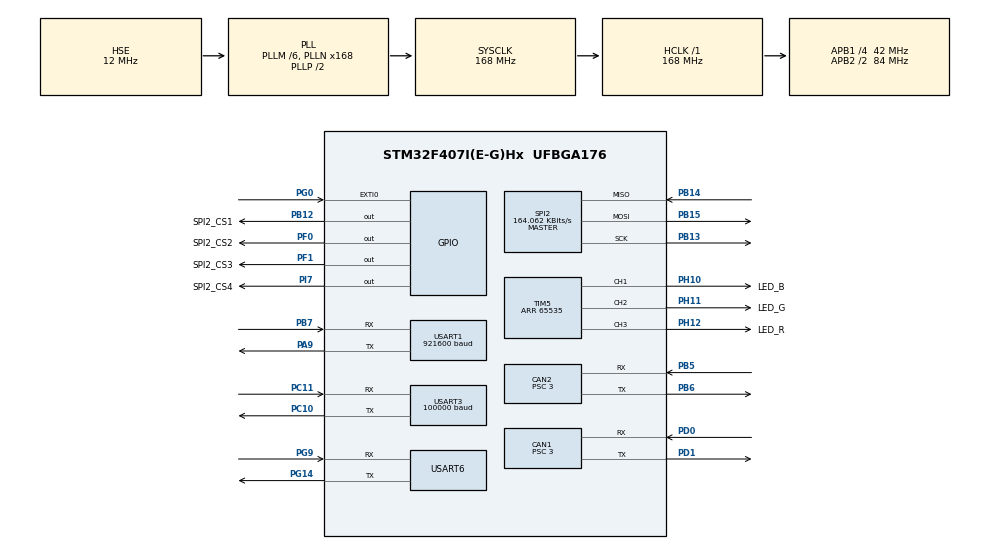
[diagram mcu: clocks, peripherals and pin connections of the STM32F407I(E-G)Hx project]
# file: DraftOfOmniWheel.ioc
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CAN1.BS1=CAN_BS1_10TQ
CAN1.BS2=CAN_BS2_3TQ
CAN1.CalculateBaudRate=1000000
CAN1.CalculateTimeBit=1000
CAN1.CalculateTimeQuantum=71.42857142857143
CAN1.Prescaler=3
CAN2.BS1=CAN_BS1_10TQ
CAN2.BS2=CAN_BS2_3TQ
CAN2.CalculateBaudRate=1000000
CAN2.CalculateTimeBit=1000
CAN2.CalculateTimeQuantum=71.42857142857143
CAN2.Prescaler=3
Dma.Request0=USART1_RX
Dma.Request1=USART1_TX
Dma.Request2=USART3_RX
Dma.Request3=USART6_RX
Dma.Request4=USART6_TX
Dma.USART1_RX.0.Direction=DMA_PERIPH_TO_MEMORY
Dma.USART1_RX.0.FIFOMode=DMA_FIFOMODE_DISABLE
Dma.USART1_RX.0.Instance=DMA2_Stream5
Dma.USART1_RX.0.MemDataAlignment=DMA_MDATAALIGN_BYTE
Dma.USART1_RX.0.MemInc=DMA_MINC_ENABLE
Dma.USART1_RX.0.Mode=DMA_NORMAL
Dma.USART1_RX.0.PeriphDataAlignment=DMA_PDATAALIGN_BYTE
Dma.USART1_RX.0.PeriphInc=DMA_PINC_DISABLE
Dma.USART1_RX.0.Priority=DMA_PRIORITY_HIGH
Dma.USART1_TX.1.Direction=DMA_MEMORY_TO_PERIPH
Dma.USART1_TX.1.FIFOMode=DMA_FIFOMODE_DISABLE
Dma.USART1_TX.1.Instance=DMA2_Stream7
Dma.USART1_TX.1.MemDataAlignment=DMA_MDATAALIGN_BYTE
Dma.USART1_TX.1.MemInc=DMA_MINC_ENABLE
Dma.USART1_TX.1.Mode=DMA_NORMAL
Dma.USART1_TX.1.PeriphDataAlignment=DMA_PDATAALIGN_BYTE
Dma.USART1_TX.1.PeriphInc=DMA_PINC_DISABLE
Dma.USART1_TX.1.Priority=DMA_PRIORITY_HIGH
Dma.USART3_RX.2.Direction=DMA_PERIPH_TO_MEMORY
Dma.USART3_RX.2.FIFOMode=DMA_FIFOMODE_DISABLE
Dma.USART3_RX.2.Instance=DMA1_Stream1
Dma.USART3_RX.2.MemDataAlignment=DMA_MDATAALIGN_BYTE
Dma.USART3_RX.2.MemInc=DMA_MINC_ENABLE
Dma.USART3_RX.2.Mode=DMA_NORMAL
Dma.USART3_RX.2.PeriphDataAlignment=DMA_PDATAALIGN_BYTE
Dma.USART3_RX.2.PeriphInc=DMA_PINC_DISABLE
Dma.USART3_RX.2.Priority=DMA_PRIORITY_VERY_HIGH
Dma.USART6_RX.3.Direction=DMA_PERIPH_TO_MEMORY
Dma.USART6_RX.3.FIFOMode=DMA_FIFOMODE_DISABLE
Dma.USART6_RX.3.Instance=DMA2_Stream1
Dma.USART6_RX.3.MemDataAlignment=DMA_MDATAALIGN_BYTE
Dma.USART6_RX.3.MemInc=DMA_MINC_ENABLE
Dma.USART6_RX.3.Mode=DMA_CIRCULAR
Dma.USART6_RX.3.PeriphDataAlignment=DMA_PDATAALIGN_BYTE
Dma.USART6_RX.3.PeriphInc=DMA_PINC_DISABLE
Dma.USART6_RX.3.Priority=DMA_PRIORITY_HIGH
Dma.USART6_TX.4.Direction=DMA_MEMORY_TO_PERIPH
Dma.USART6_TX.4.FIFOMode=DMA_FIFOMODE_DISABLE
Dma.USART6_TX.4.Instance=DMA2_Stream6
Dma.USART6_TX.4.MemDataAlignment=DMA_MDATAALIGN_BYTE
Dma.USART6_TX.4.MemInc=DMA_MINC_ENABLE
Dma.USART6_TX.4.Mode=DMA_NORMAL
Dma.USART6_TX.4.PeriphDataAlignment=DMA_PDATAALIGN_BYTE
Dma.USART6_TX.4.PeriphInc=DMA_PINC_DISABLE
Dma.USART6_TX.4.Priority=DMA_PRIORITY_HIGH
FREERTOS.INCLUDE_vTaskDelayUntil=1
FREERTOS.INCLUDE_xTaskGetHandle=1
FREERTOS.Tasks01=StartTask,3,128,ALL_Init,Default,NULL,Dynamic,NULL,NULL
FREERTOS.configTOTAL_HEAP_SIZE=30720
FREERTOS.configUSE_TIMERS=1
Mcu.Family=STM32F4
Mcu.Name=STM32F407I(E-G)Hx
Mcu.Package=UFBGA176
NVIC.CAN1_RX0_IRQn=true\:5\:0\:false\:false\:true\:true\:true\:true\:true
NVIC.CAN1_TX_IRQn=true\:5\:0\:false\:false\:true\:true\:true\:true\:true
NVIC.CAN2_RX0_IRQn=true\:5\:0\:false\:false\:true\:true\:true\:true\:true
NVIC.CAN2_TX_IRQn=true\:5\:0\:false\:false\:true\:true\:true\:true\:true
NVIC.DMA1_Stream1_IRQn=true\:5\:0\:false\:false\:true\:true\:false\:true\:true
NVIC.DMA2_Stream1_IRQn=true\:5\:0\:false\:false\:true\:true\:false\:true\:true
NVIC.DMA2_Stream5_IRQn=true\:5\:0\:false\:false\:true\:false\:false\:true\:true
NVIC.DMA2_Stream6_IRQn=true\:5\:0\:false\:false\:true\:true\:false\:true\:true
NVIC.DMA2_Stream7_IRQn=true\:5\:0\:false\:false\:true\:true\:false\:true\:true
NVIC.EXTI0_IRQn=true\:6\:0\:true\:false\:true\:true\:true\:true\:true
NVIC.PriorityGroup=NVIC_PRIORITYGROUP_4
NVIC.TIM1_UP_TIM10_IRQn=true\:5\:0\:false\:false\:true\:false\:false\:true\:true
NVIC.TimeBase=TIM1_UP_TIM10_IRQn
NVIC.TimeBaseIP=TIM1
NVIC.USART1_IRQn=true\:5\:0\:false\:false\:true\:true\:true\:true\:true
NVIC.USART6_IRQn=true\:5\:0\:false\:false\:true\:true\:true\:true\:true
PA13.Mode=Serial_Wire
PA13.Signal=SYS_JTMS-SWDIO
PA14.Mode=Serial_Wire
PA14.Signal=SYS_JTCK-SWCLK
PA9.Mode=Asynchronous
PA9.Signal=USART1_TX
PB12.GPIO_Label=SPI2_CS1
PB12.Signal=GPIO_Output
PB13.Mode=Full_Duplex_Master
PB13.Signal=SPI2_SCK
PB14.Mode=Full_Duplex_Master
PB14.Signal=SPI2_MISO
PB15.Mode=Full_Duplex_Master
PB15.Signal=SPI2_MOSI
PB5.Mode=CAN_Activate
PB5.Signal=CAN2_RX
PB6.Mode=CAN_Activate
PB6.Signal=CAN2_TX
PB7.Mode=Asynchronous
PB7.Signal=USART1_RX
PC10.Mode=Asynchronous
PC10.Signal=USART3_TX
PC11.Mode=Asynchronous
PC11.Signal=USART3_RX
PD0.Mode=CAN_Activate
PD0.Signal=CAN1_RX
PD1.Mode=CAN_Activate
PD1.Signal=CAN1_TX
PF0.GPIO_Label=SPI2_CS2
PF0.Signal=GPIO_Output
PF1.GPIO_Label=SPI2_CS3
PF1.Signal=GPIO_Output
PG0.GPIO_ModeDefaultEXTI=GPIO_MODE_IT_FALLING
PG0.GPIO_PuPd=GPIO_PULLUP
PG0.Signal=GPXTI0
PG14.Mode=Asynchronous
PG14.Signal=USART6_TX
PG9.Mode=Asynchronous
PG9.Signal=USART6_RX
PH0-OSC_IN.Mode=HSE-External-Oscillator
PH0-OSC_IN.Signal=RCC_OSC_IN
PH1-OSC_OUT.Mode=HSE-External-Oscillator
PH1-OSC_OUT.Signal=RCC_OSC_OUT
PH10.GPIO_Label=LED_B
PH10.GPIO_PuPd=GPIO_PULLUP
PH10.GPIO_Speed=GPIO_SPEED_FREQ_HIGH
PH10.Signal=S_TIM5_CH1
PH11.GPIO_Label=LED_G
PH11.GPIO_PuPd=GPIO_PULLUP
PH11.GPIO_Speed=GPIO_SPEED_FREQ_HIGH
PH11.Signal=S_TIM5_CH2
PH12.GPIO_Label=LED_R
PH12.GPIO_PuPd=GPIO_PULLUP
PH12.GPIO_Speed=GPIO_SPEED_FREQ_HIGH
PH12.Signal=S_TIM5_CH3
PI7.GPIO_Label=SPI2_CS4
PI7.Signal=GPIO_Output
ProjectManager.HeapSize=0x200
ProjectManager.StackSize=0x400
ProjectManager.TargetToolchain=MDK-ARM V5
RCC.48MHZClocksFreq_Value=48000000
RCC.AHBFreq_Value=168000000
RCC.APB1CLKDivider=RCC_HCLK_DIV4
RCC.APB1Freq_Value=42000000
RCC.APB1TimFreq_Value=84000000
RCC.APB2CLKDivider=RCC_HCLK_DIV2
RCC.APB2Freq_Value=84000000
RCC.APB2TimFreq_Value=168000000
RCC.CortexFreq_Value=168000000
RCC.HCLKFreq_Value=168000000
RCC.HSE_VALUE=12000000
RCC.HSI_VALUE=16000000
RCC.LSE_VALUE=32768
RCC.PLLM=6
RCC.PLLN=168
RCC.PLLQ=7
RCC.PLLSourceVirtual=RCC_PLLSOURCE_HSE
RCC.SYSCLKFreq_VALUE=168000000
RCC.SYSCLKSource=RCC_SYSCLKSOURCE_PLLCLK
RCC.VCOOutputFreq_Value=336000000
RTC.AsynchPrediv=3
RTC.SynchPrediv=7
SH.S_TIM5_CH1.0=TIM5_CH1,PWM Generation1 CH1
SH.S_TIM5_CH2.0=TIM5_CH2,PWM Generation2 CH2
SH.S_TIM5_CH3.0=TIM5_CH3,PWM Generation3 CH3
SPI2.BaudRatePrescaler=SPI_BAUDRATEPRESCALER_256
SPI2.CLKPhase=SPI_PHASE_2EDGE
SPI2.CLKPolarity=SPI_POLARITY_HIGH
SPI2.CalculateBaudRate=164.062 KBits/s
SPI2.DataSize=SPI_DATASIZE_16BIT
SPI2.Direction=SPI_DIRECTION_2LINES
SPI2.Mode=SPI_MODE_MASTER
SPI2.VirtualType=VM_MASTER
TIM5.Channel-PWM\ Generation1\ CH1=TIM_CHANNEL_1
TIM5.Channel-PWM\ Generation2\ CH2=TIM_CHANNEL_2
TIM5.Channel-PWM\ Generation3\ CH3=TIM_CHANNEL_3
TIM5.Period=65535
TIM6.AutoReloadPreload=TIM_AUTORELOAD_PRELOAD_ENABLE
TIM6.Prescaler=83
USART1.BaudRate=921600
USART1.VirtualMode=VM_ASYNC
USART3.BaudRate=100000
USART3.Parity=PARITY_EVEN
USART3.StopBits=STOPBITS_2
USART3.VirtualMode=VM_ASYNC
USART6.VirtualMode=VM_ASYNC
VP_FREERTOS_VS_CMSIS_V1.Mode=CMSIS_V1
VP_RTC_VS_RTC_Activate.Mode=RTC_Enabled
VP_RTC_VS_RTC_Calendar.Mode=RTC_Calendar
VP_SYS_VS_tim1.Mode=TIM1
VP_TIM5_VS_ClockSourceINT.Mode=Internal
VP_TIM6_VS_ClockSourceINT.Mode=Enable_Timer
board=custom

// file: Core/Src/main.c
/* USER CODE BEGIN Header */
/**
  ******************************************************************************
  * @file           : main.c
  * @brief          : Main program body
  ******************************************************************************
  * @attention
  *
  * Copyright (c) 2023 STMicroelectronics.
  * All rights reserved.
  *
  * This software is licensed under terms that can be found in the LICENSE file
  * in the root directory of this software component.
  * If no LICENSE file comes with this software, it is provided AS-IS.
  *
  ******************************************************************************
  */
/* USER CODE END Header */
#include "main.h"
#include "cmsis_os.h"
#include "can.h"
#include "dma.h"
#include "rtc.h"
#include "spi.h"
#include "tim.h"
#include "usart.h"
#include "gpio.h"

/* USER CODE BEGIN Includes */
#include "bsp_delay.h"
#include "trcConfig.h"
#include "trcRecorder.h"
/* USER CODE END Includes */

void SystemClock_Config(void);
void MX_FREERTOS_Init(void);

int main(void)
{

  /* MCU Configuration--------------------------------------------------------*/

  /* Reset of all peripherals, Initializes the Flash interface and the Systick. */
  HAL_Init();

  /* Configure the system clock */
  SystemClock_Config();

  /* Initialize all configured peripherals */
  MX_GPIO_Init();
  MX_DMA_Init();
  MX_CAN1_Init();
  MX_USART1_UART_Init();
  MX_TIM5_Init();
  MX_CAN2_Init();
  MX_USART3_UART_Init();
  MX_USART6_UART_Init();
  MX_RTC_Init();
  MX_SPI2_Init();
  MX_TIM6_Init();
  /* USER CODE BEGIN 2 */
  delay_init();
	HAL_Delay(500);

  /* USER CODE END 2 */

  /* Call init function for freertos objects (in cmsis_os2.c) */
  MX_FREERTOS_Init();

  /* Start scheduler */
  osKernelStart();

  /* We should never get here as control is now taken by the scheduler */

  /* Infinite loop */
  while (1)
  {

  }
}

void SystemClock_Config(void)
{
  RCC_OscInitTypeDef RCC_OscInitStruct = {0};
  RCC_ClkInitTypeDef RCC_ClkInitStruct = {0};

  /** Configure the main internal regulator output voltage
  */
  __HAL_RCC_PWR_CLK_ENABLE();
  __HAL_PWR_VOLTAGESCALING_CONFIG(PWR_REGULATOR_VOLTAGE_SCALE1);

  /** Initializes the RCC Oscillators according to the specified parameters
  * in the RCC_OscInitTypeDef structure.
  */
  RCC_OscInitStruct.OscillatorType = RCC_OSCILLATORTYPE_LSI|RCC_OSCILLATORTYPE_HSE;
  RCC_OscInitStruct.HSEState = RCC_HSE_ON;
  RCC_OscInitStruct.LSIState = RCC_LSI_ON;
  RCC_OscInitStruct.PLL.PLLState = RCC_PLL_ON;
  RCC_OscInitStruct.PLL.PLLSource = RCC_PLLSOURCE_HSE;
  RCC_OscInitStruct.PLL.PLLM = 6;
  RCC_OscInitStruct.PLL.PLLN = 168;
  RCC_OscInitStruct.PLL.PLLP = RCC_PLLP_DIV2;
  RCC_OscInitStruct.PLL.PLLQ = 7;
  if (HAL_RCC_OscConfig(&RCC_OscInitStruct) != HAL_OK)
  {
    Error_Handler();
  }

  /** Initializes the CPU, AHB and APB buses clocks
  */
  RCC_ClkInitStruct.ClockType = RCC_CLOCKTYPE_HCLK|RCC_CLOCKTYPE_SYSCLK
                              |RCC_CLOCKTYPE_PCLK1|RCC_CLOCKTYPE_PCLK2;
  RCC_ClkInitStruct.SYSCLKSource = RCC_SYSCLKSOURCE_PLLCLK;
  RCC_ClkInitStruct.AHBCLKDivider = RCC_SYSCLK_DIV1;
  RCC_ClkInitStruct.APB1CLKDivider = RCC_HCLK_DIV4;
  RCC_ClkInitStruct.APB2CLKDivider = RCC_HCLK_DIV2;

  if (HAL_RCC_ClockConfig(&RCC_ClkInitStruct, FLASH_LATENCY_5) != HAL_OK)
  {
    Error_Handler();
  }
}

void HAL_TIM_PeriodElapsedCallback(TIM_HandleTypeDef *htim)
{
  if (htim->Instance == TIM1) {
    HAL_IncTick();
  }
}

void Error_Handler(void)
{
  __disable_irq();
  while (1)
  {
  }
}

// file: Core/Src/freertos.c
/* USER CODE BEGIN Header */
/**
  ******************************************************************************
  * File Name          : freertos.c
  * Description        : Code for freertos applications
  ******************************************************************************
  * @attention
  *
  * Copyright (c) 2023 STMicroelectronics.
  * All rights reserved.
  *
  * This software is licensed under terms that can be found in the LICENSE file
  * in the root directory of this software component.
  * If no LICENSE file comes with this software, it is provided AS-IS.
  *
  ******************************************************************************
  */
/* USER CODE END Header */

#include "FreeRTOS.h"
#include "task.h"
#include "main.h"
#include "cmsis_os.h"

/* USER CODE BEGIN Includes */
#include "pid.h"
#include "BSP_Can.h"
#include "BSP_Usart.h"

#include "Cloud_Control.h"
#include "Steer_Chassis.h"
#include "Protocol_Judgement.h"

#include "DT7.h"
#include "Task_LED.h"
#include "BSP_Test.h"
#include "Saber_C3.h"
#include "MA600_use.h"
#include "N100.h"
#include "UI.h"
#include "PowerControl.h"
/* USER CODE END Includes */

/* USER CODE BEGIN Variables */

/***********Queues************/
QueueHandle_t CAN1_ReceiveHandle;
QueueHandle_t CAN2_ReceiveHandle;
QueueHandle_t CAN_SendHandle;
/***********Tasks*************/
osThreadId Task_Can1MsgRecHandle;
osThreadId Task_Can2MsgRecHandle;
osThreadId Task_CanSendHandle;
osThreadId Task_SPI2MsgRecHandle;
osThreadId Move_DataHandle;
osThreadId led_RGB_flow_handle;
osThreadId Robot_Control_Handle;
osThreadId Robot_UI_Handle;
osThreadId Task_OffLineCheck_Handle;
osThreadId Task_VofaAssistHandle;

/* USER CODE END Variables */
osThreadId StartTaskHandle;

/* USER CODE BEGIN FunctionPrototypes */
extern void Can1Receives(void const *argument);
extern void Can2Receives(void const *argument);
extern void AllCanSend(void const *argument);
extern void SPI2Receives(void const *argument);
extern void Robot_Control(void const *argument);
extern void Show_Data(void const *argument);
extern void Robot_UI(void const *argument);
extern void Off_Line_Check(void const *argument);
extern void Vofa_Assist(void const *argument);

/* USER CODE END FunctionPrototypes */

void ALL_Init(void const * argument);

void MX_FREERTOS_Init(void); /* (MISRA C 2004 rule 8.1) */

/* GetIdleTaskMemory prototype (linked to static allocation support) */
void vApplicationGetIdleTaskMemory( StaticTask_t **ppxIdleTaskTCBBuffer, StackType_t **ppxIdleTaskStackBuffer, uint32_t *pulIdleTaskStackSize );

/* GetTimerTaskMemory prototype (linked to static allocation support) */
void vApplicationGetTimerTaskMemory( StaticTask_t **ppxTimerTaskTCBBuffer, StackType_t **ppxTimerTaskStackBuffer, uint32_t *pulTimerTaskStackSize );

/* USER CODE BEGIN GET_IDLE_TASK_MEMORY */
static StaticTask_t xIdleTaskTCBBuffer;
static StackType_t xIdleStack[configMINIMAL_STACK_SIZE];

void vApplicationGetIdleTaskMemory( StaticTask_t **ppxIdleTaskTCBBuffer, StackType_t **ppxIdleTaskStackBuffer, uint32_t *pulIdleTaskStackSize )
{
  *ppxIdleTaskTCBBuffer = &xIdleTaskTCBBuffer;
  *ppxIdleTaskStackBuffer = &xIdleStack[0];
  *pulIdleTaskStackSize = configMINIMAL_STACK_SIZE;
  /* place for user code */
}
/* USER CODE END GET_IDLE_TASK_MEMORY */

/* USER CODE BEGIN GET_TIMER_TASK_MEMORY */
static StaticTask_t xTimerTaskTCBBuffer;
static StackType_t xTimerStack[configTIMER_TASK_STACK_DEPTH];

void vApplicationGetTimerTaskMemory( StaticTask_t **ppxTimerTaskTCBBuffer, StackType_t **ppxTimerTaskStackBuffer, uint32_t *pulTimerTaskStackSize )
{
  *ppxTimerTaskTCBBuffer = &xTimerTaskTCBBuffer;
  *ppxTimerTaskStackBuffer = &xTimerStack[0];
  *pulTimerTaskStackSize = configTIMER_TASK_STACK_DEPTH;
  /* place for user code */
}
/* USER CODE END GET_TIMER_TASK_MEMORY */

void MX_FREERTOS_Init(void) {

  /* USER CODE BEGIN RTOS_QUEUES */
  /* add queues, ... */
	 /* definition and creation of CAN1_Receive */
    CAN1_ReceiveHandle = xQueueCreate(32, sizeof(Can_Export_Data_t));

    /* definition and creation of CAN2_Receive */
    CAN2_ReceiveHandle = xQueueCreate(64, sizeof(Can_Export_Data_t));

    /* definition and creation of CAN_Send */
    CAN_SendHandle = xQueueCreate(32, sizeof(Can_Send_Data_t));
  /* USER CODE END RTOS_QUEUES */

  /* Create the thread(s) */
  /* definition and creation of StartTask */
  osThreadDef(StartTask, ALL_Init, osPriorityRealtime, 0, 128);
  StartTaskHandle = osThreadCreate(osThread(StartTask), NULL);

  /* USER CODE BEGIN RTOS_THREADS */
  /* add threads, ... */
   /* definition and creation of Can1ReceiveTask */
    osThreadDef(Can1_ReceiveTask, Can1Receives, osPriorityRealtime, 0, 128);
    Task_Can1MsgRecHandle = osThreadCreate(osThread(Can1_ReceiveTask), NULL);

    /* definition and creation of Can1ReceiveTask */
    osThreadDef(Can2_ReceiveTask, Can2Receives, osPriorityRealtime, 4, 256);
    Task_Can2MsgRecHandle = osThreadCreate(osThread(Can2_ReceiveTask), NULL);

    /* definition and creation of CanSendTask */
    osThreadDef(Can_SendTask, AllCanSend, osPriorityRealtime, 0, 256);
    Task_CanSendHandle = osThreadCreate(osThread(Can_SendTask), NULL);

	/* definition and creation of LED_RGB_Flow_Task */
    osThreadDef(led, led_RGB_flow_task, osPriorityAboveNormal, 0, 128);
    led_RGB_flow_handle = osThreadCreate(osThread(led), NULL);

	/* definition and creation of Robot_Control_Task */
    osThreadDef(Robot_Control_Task, Robot_Control, osPriorityRealtime, 0, 256);
    Robot_Control_Handle = osThreadCreate(osThread(Robot_Control_Task), NULL);

	/* definition and creation of Robot_Control_Task */
    osThreadDef(Robot_UI_Task, Robot_UI, osPriorityHigh, 0, 256);
    Robot_UI_Handle = osThreadCreate(osThread(Robot_UI_Task), NULL);

	/* definition and creation of Task_OffLineCheck_Handle */
    osThreadDef(Task_OffLineCheck_Handle, Off_Line_Check, osPriorityHigh, 0, 128);
    Task_OffLineCheck_Handle = osThreadCreate(osThread(Task_OffLineCheck_Handle), NULL);

	/* definitiom and creation of SPI2_Receive_Task */
	  osThreadDef(SPI2_ReceiveTask, SPI2Receives, osPriorityRealtime, 0, 256);
    Task_SPI2MsgRecHandle = osThreadCreate(osThread(SPI2_ReceiveTask), NULL);

	/* definition and creation of vofa_Task */
	  // osThreadDef(VofaAssistTask, Vofa_Assist, osPriorityRealtime, 0, 128);
    // Task_VofaAssistHandle = osThreadCreate(osThread(VofaAssistTask), NULL);

  /* USER CODE END RTOS_THREADS */

}

void ALL_Init(void const * argument)
{
  /* USER CODE BEGIN ALL_Init */
  /* Infinite loop */
	for(;;)
	{
		taskENTER_CRITICAL();                 //�����ٽ���
	    /* CAN�жϳ�ʼ�� */
        Can_Fun.CAN_IT_Init(&hcan1, Can1_Type);
        Can_Fun.CAN_IT_Init(&hcan2, Can2_Type);
		   /*编码器初始化*/
		   MA600sInit();
		  /*���̳�ʼ��*/
		   chassis_init();
		  /*ң������ʼ��*/
		   DT7_Init();
	    /* PID��ʼ�� */
//	    for(int i = 0; i <= 3; i++)
//        {
//            Incremental_PIDInit(&M3508_Array_Pid[i], 20.0f, 0.22f, 0, 16384, 6000);
//        }
		    /**Yaw轴电机PID初始化**/
       // Position_PIDInit(&M6020s_YawIPID, yaw_I_p, yaw_I_i, yaw_I_d, 0, 30000, 10000 , 6000);
       // Position_PIDInit(&M6020s_YawOPID, yaw_O_p, yaw_O_i, yaw_O_d, 0, 30000, 10000 , 10000);
		    /**AimYaw电机PID初始化*/
       // Position_PIDInit(&AutoAim_M6020s_YawIPID, yaw_I_Aim_p, yaw_I_Aim_i, yaw_I_Aim_d, yaw_I_Aim_f, 30000, 10000 , 10000);
       // Position_PIDInit(&AutoAim_M6020s_YawOPID, yaw_O_Aim_p, yaw_O_Aim_i, yaw_O_Aim_d, yaw_O_Aim_f, 30000, 10000 , 10000);
       // 警告：必须将所有 Kp, Ki, Kd, Kf 设为 0，然后重新调参！
// 格式: Kp, Kd, Ki, Kf, MaxOutput, IntegralLimit
// (内环)
//PID_Advanced_Init(&M6020s_YawIPID, 0, 0, 0, 0, 30000, 6000);
// (外环)
//PID_Advanced_Init(&M6020s_YawOPID, 0, 0, 0, 0, 30000, 10000);
// (自瞄内环)
//PID_Advanced_Init(&AutoAim_M6020s_YawIPID, 0, 0, 0, 0, 30000, 10000);
// (自瞄外环)
//PID_Advanced_Init(&AutoAim_M6020s_YawOPID, 0, 0, 0, 0, 30000, 10000);
// --- 手动模式PID ---
// 内环 (速度环)
float inner_max_out = 30000.0f; // 电机最大电流
float inner_int_limit = 5000.0f; // 积分限幅
//          (pid_t*),         Kp,     Kd,      Ki,     Kf,  MaxOutput,      IntegralLimit
PID_Advanced_Init(&M6020s_YawIPID,   140.0f,  20.0f,  0.2f, 1.5f, inner_max_out,  inner_int_limit);

// 外环 (位置环)
float outer_max_speed = 80000.0f;
float outer_int_limit = 10.0f;   // 积分限幅
//          (pid_t*),         Kp,     Kd,      Ki,      Kf,    MaxOutput,        IntegralLimit
PID_Advanced_Init(&M6020s_YawOPID,   0.8f,   0.2f,  0.00000002f, 0.03f,  outer_max_speed,  outer_int_limit);

// --- 自瞄模式PID ---
// (使用相同的初始值，自瞄通常需要更硬(高)的参数，但可以基于此再调整)
PID_Advanced_Init(&AutoAim_M6020s_YawIPID, 140.0f,  20.0f,  0.8f, 1.5f, inner_max_out,  inner_int_limit);
PID_Advanced_Init(&AutoAim_M6020s_YawOPID, 0.8f,   0.20f,  0.00000002f, 0.03f,  outer_max_speed,  outer_int_limit);
		/*�豸��ʼ��*/
        Cloud_Init();						  //云台初始化

		/* ��������ϵͳ */
		JudgeSystem_USART_Receive_DMA(&huart6);
		//Saber_Init();							//Saber IMU初始化
		N100_Init();
		UI_FUN.UI_init();
		vTaskDelete(StartTaskHandle);         //删除启动任务
    taskEXIT_CRITICAL();                  //退出临界区
	}
  /* USER CODE END ALL_Init */
}
